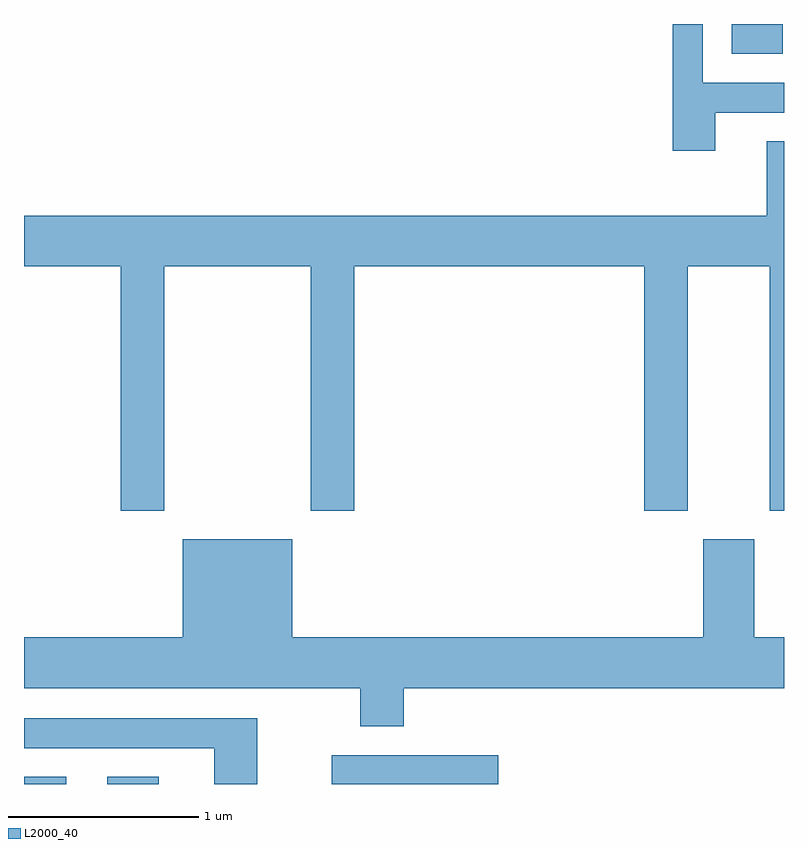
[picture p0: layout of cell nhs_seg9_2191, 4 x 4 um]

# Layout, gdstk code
import gdstk
lib = gdstk.Library(unit=1e-6, precision=1e-09)
def R(c, l, rs):  # rectangles x0, y0, x1, y1
    for r in rs: c.add(gdstk.rectangle(r[:2], r[2:], *l))
def P(c, l, *ps):  # polygons
    for p in ps: c.add(gdstk.Polygon(p, *l))
L2000_40 = (2000, 40)

nhs_seg9_2191 = lib.new_cell('nhs_seg9_2191')
R(nhs_seg9_2191, L2000_40, [(249.611,1982.432,249.834,1982.469), (250.048,1982.432,250.319,1982.469), (251.231,1982.432,252.108,1982.584), (253.336,1986.276,253.604,1986.432)])
P(nhs_seg9_2191, L2000_40, [(253.249,1985.966),(253.611,1985.966),(253.611,1986.124),(253.184,1986.124),(253.184,1986.432),(253.026,1986.432),(253.026,1985.766),(253.249,1985.766)],
  [(250.349,1985.156),(251.121,1985.156),(251.121,1983.871),(251.349,1983.871),(251.349,1985.156),(252.876,1985.156),(252.876,1983.871),(253.104,1983.871),(253.104,1985.156),(253.536,1985.156),(253.536,1983.871),(253.611,1983.871),(253.611,1985.814),(253.521,1985.814),(253.521,1985.424),(249.611,1985.424),(249.611,1985.156),(250.121,1985.156),(250.121,1983.871),(250.349,1983.871)],
  [(251.609,1982.936),(253.611,1982.936),(253.611,1983.204),(253.454,1983.204),(253.454,1983.719),(253.186,1983.719),(253.186,1983.204),(251.024,1983.204),(251.024,1983.719),(250.446,1983.719),(250.446,1983.204),(249.611,1983.204),(249.611,1982.936),(251.381,1982.936),(251.381,1982.736),(251.609,1982.736)],
  [(250.839,1982.779),(249.611,1982.779),(249.611,1982.621),(250.611,1982.621),(250.611,1982.432),(250.839,1982.432)])

lib.write_gds('nhs_seg9_2191.gds')
